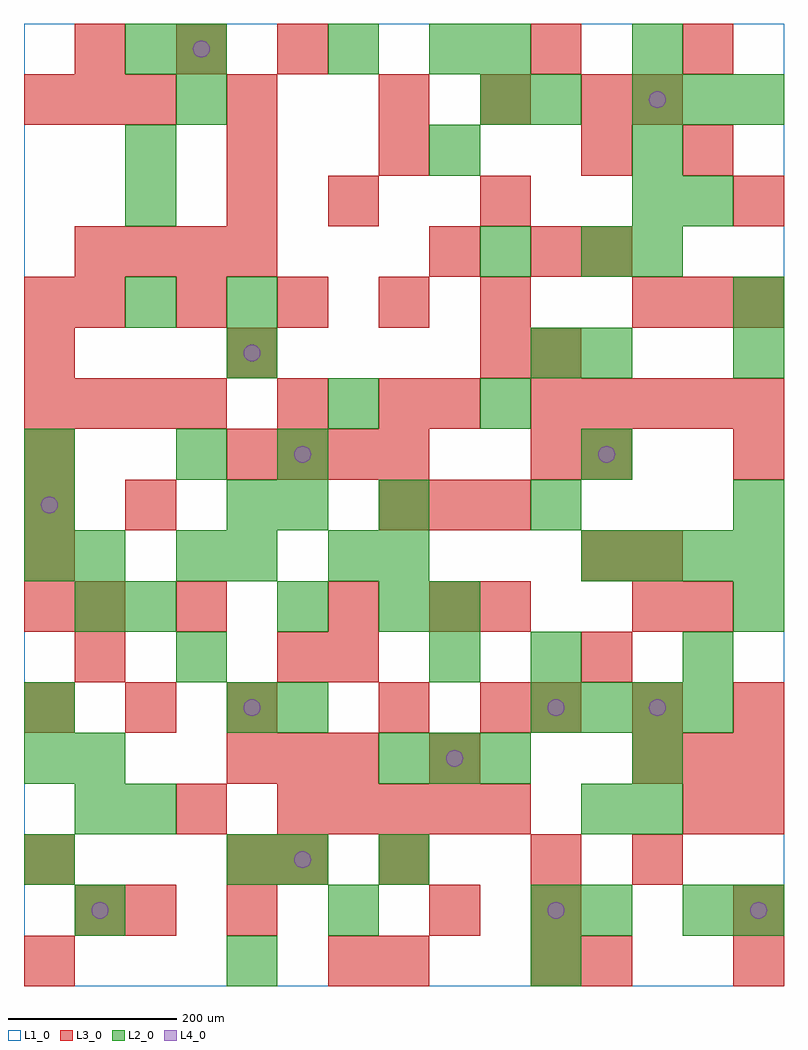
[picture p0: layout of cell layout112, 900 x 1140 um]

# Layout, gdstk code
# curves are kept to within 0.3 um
import gdstk
lib = gdstk.Library(unit=1e-6, precision=1e-09)
def R(c, l, rs):  # rectangles x0, y0, x1, y1
    for r in rs: c.add(gdstk.rectangle(r[:2], r[2:], *l))
def A(c, l, x, y, w, h, nx, ny, dx, dy):  # array of equal rectangles
    R(c, l, [(x+i*dx, y+j*dy, x+i*dx+w, y+j*dy+h) for i in range(nx) for j in range(ny)])
def P(c, l, *ps):  # polygons
    for p in ps: c.add(gdstk.Polygon(p, *l))
L1_0 = (1, 0)
L2_0 = (2, 0)
L3_0 = (3, 0)
L4_0 = (4, 0)

layout112 = lib.new_cell('layout112')
R(layout112, L1_0, [(0,0,900,1140)])
A(layout112, L2_0, 240, 120, 60, 60, 1, 3, 0, 180)
A(layout112, L2_0, 420, 240, 60, 60, 3, 1, 60, 0)
A(layout112, L2_0, 300, 300, 60, 60, 1, 3, 0, 120)
A(layout112, L2_0, 600, 300, 60, 60, 4, 1, 60, 0)
A(layout112, L2_0, 180, 360, 60, 60, 1, 3, 0, 120)
A(layout112, L2_0, 600, 360, 60, 60, 1, 3, 0, 180)
A(layout112, L2_0, 420, 420, 60, 60, 1, 3, 0, 60)
A(layout112, L2_0, 0, 480, 60, 60, 1, 3, 0, 60)
A(layout112, L2_0, 660, 480, 60, 60, 4, 1, 60, 0)
A(layout112, L2_0, 660, 600, 60, 60, 1, 3, 0, 120)
A(layout112, L2_0, 540, 660, 60, 60, 1, 3, 0, 180)
A(layout112, L2_0, 720, 840, 60, 60, 1, 3, 0, 60)
A(layout112, L2_0, 720, 1020, 60, 60, 3, 1, 60, 0)
R(layout112, L2_0, [(240,0,300,60), (600,0,660,60), (60,60,120,120), (360,60,420,120), (600,60,660,120), (660,60,720,120), (780,60,840,120), (840,60,900,120), (0,120,60,180), (300,120,360,180), (420,120,480,180), (60,180,120,240), (120,180,180,240), (660,180,720,240), (720,180,780,240), (0,240,60,300), (60,240,120,300), (720,240,780,300), (0,300,60,360), (480,360,540,420), (780,360,840,420), (60,420,120,480), (120,420,180,480), (480,420,540,480), (840,420,900,480), (60,480,120,540), (360,480,420,540), (240,540,300,600), (840,540,900,600), (300,600,360,660), (360,660,420,720), (240,720,300,780), (840,720,900,780), (120,780,180,840), (240,780,300,840), (840,780,900,840), (120,900,180,960), (780,900,840,960), (120,960,180,1020), (480,960,540,1020), (180,1020,240,1080), (600,1020,660,1080), (120,1080,180,1140), (180,1080,240,1140), (360,1080,420,1140), (480,1080,540,1140), (540,1080,600,1140), (720,1080,780,1140)])
A(layout112, L3_0, 600, 0, 60, 60, 1, 3, 0, 60)
A(layout112, L3_0, 480, 60, 60, 60, 1, 3, 0, 180)
A(layout112, L3_0, 300, 180, 60, 60, 5, 1, 60, 0)
A(layout112, L3_0, 240, 240, 60, 60, 3, 1, 60, 0)
A(layout112, L3_0, 720, 240, 60, 60, 3, 2, 60, 540)
A(layout112, L3_0, 0, 300, 60, 60, 3, 1, 120, 0)
A(layout112, L3_0, 600, 300, 60, 60, 3, 1, 120, 0)
A(layout112, L3_0, 660, 360, 60, 60, 1, 3, 0, 120)
A(layout112, L3_0, 0, 420, 60, 60, 1, 4, 0, 60)
A(layout112, L3_0, 420, 540, 60, 60, 3, 1, 60, 0)
A(layout112, L3_0, 240, 600, 60, 60, 4, 1, 60, 0)
A(layout112, L3_0, 600, 600, 60, 60, 1, 3, 0, 120)
A(layout112, L3_0, 0, 660, 60, 60, 4, 1, 60, 0)
A(layout112, L3_0, 600, 660, 60, 60, 5, 1, 60, 0)
A(layout112, L3_0, 60, 780, 60, 60, 5, 1, 120, 0)
A(layout112, L3_0, 60, 840, 60, 60, 4, 1, 60, 0)
A(layout112, L3_0, 240, 900, 60, 60, 1, 3, 0, 60)
A(layout112, L3_0, 0, 1020, 60, 60, 3, 1, 60, 0)
A(layout112, L3_0, 420, 1020, 60, 60, 3, 1, 120, 0)
A(layout112, L3_0, 60, 1080, 60, 60, 3, 1, 120, 0)
R(layout112, L3_0, [(0,0,60,60), (360,0,420,60), (420,0,480,60), (660,0,720,60), (840,0,900,60), (60,60,120,120), (120,60,180,120), (240,60,300,120), (840,60,900,120), (0,120,60,180), (240,120,300,180), (300,120,360,180), (420,120,480,180), (720,120,780,180), (180,180,240,240), (780,180,840,240), (840,180,900,240), (420,300,480,360), (540,300,600,360), (60,360,120,420), (300,360,360,420), (360,360,420,420), (60,420,120,480), (180,420,240,480), (360,420,420,480), (540,420,600,480), (720,420,780,480), (780,420,840,480), (720,480,780,540), (120,540,180,600), (840,600,900,660), (300,660,360,720), (420,660,480,720), (480,660,540,720), (0,720,60,780), (240,720,300,780), (540,720,600,780), (0,780,60,840), (480,840,540,900), (660,840,720,900), (360,900,420,960), (540,900,600,960), (840,900,900,960), (420,960,480,1020), (660,960,720,1020), (780,960,840,1020), (720,1020,780,1080), (600,1080,660,1140), (780,1080,840,1140)])
P(layout112, L4_0, [(40,570),(39.239,573.827),(37.071,577.071),(33.827,579.239),(30,580),(26.173,579.239),(22.929,577.071),(20.761,573.827),(20,570),(20.761,566.173),(22.929,562.929),(26.173,560.761),(30,560),(33.827,560.761),(37.071,562.929),(39.239,566.173)],
  [(100,90),(99.239,93.827),(97.071,97.071),(93.827,99.239),(90,100),(86.173,99.239),(82.929,97.071),(80.761,93.827),(80,90),(80.761,86.173),(82.929,82.929),(86.173,80.761),(90,80),(93.827,80.761),(97.071,82.929),(99.239,86.173)],
  [(220,1110),(219.239,1113.827),(217.071,1117.071),(213.827,1119.239),(210,1120),(206.173,1119.239),(202.929,1117.071),(200.761,1113.827),(200,1110),(200.761,1106.173),(202.929,1102.929),(206.173,1100.761),(210,1100),(213.827,1100.761),(217.071,1102.929),(219.239,1106.173)],
  [(280,330),(279.239,333.827),(277.071,337.071),(273.827,339.239),(270,340),(266.173,339.239),(262.929,337.071),(260.761,333.827),(260,330),(260.761,326.173),(262.929,322.929),(266.173,320.761),(270,320),(273.827,320.761),(277.071,322.929),(279.239,326.173)],
  [(280,750),(279.239,753.827),(277.071,757.071),(273.827,759.239),(270,760),(266.173,759.239),(262.929,757.071),(260.761,753.827),(260,750),(260.761,746.173),(262.929,742.929),(266.173,740.761),(270,740),(273.827,740.761),(277.071,742.929),(279.239,746.173)],
  [(340,150),(339.239,153.827),(337.071,157.071),(333.827,159.239),(330,160),(326.173,159.239),(322.929,157.071),(320.761,153.827),(320,150),(320.761,146.173),(322.929,142.929),(326.173,140.761),(330,140),(333.827,140.761),(337.071,142.929),(339.239,146.173)],
  [(340,630),(339.239,633.827),(337.071,637.071),(333.827,639.239),(330,640),(326.173,639.239),(322.929,637.071),(320.761,633.827),(320,630),(320.761,626.173),(322.929,622.929),(326.173,620.761),(330,620),(333.827,620.761),(337.071,622.929),(339.239,626.173)],
  [(520,270),(519.239,273.827),(517.071,277.071),(513.827,279.239),(510,280),(506.173,279.239),(502.929,277.071),(500.761,273.827),(500,270),(500.761,266.173),(502.929,262.929),(506.173,260.761),(510,260),(513.827,260.761),(517.071,262.929),(519.239,266.173)],
  [(640,90),(639.239,93.827),(637.071,97.071),(633.827,99.239),(630,100),(626.173,99.239),(622.929,97.071),(620.761,93.827),(620,90),(620.761,86.173),(622.929,82.929),(626.173,80.761),(630,80),(633.827,80.761),(637.071,82.929),(639.239,86.173)],
  [(640,330),(639.239,333.827),(637.071,337.071),(633.827,339.239),(630,340),(626.173,339.239),(622.929,337.071),(620.761,333.827),(620,330),(620.761,326.173),(622.929,322.929),(626.173,320.761),(630,320),(633.827,320.761),(637.071,322.929),(639.239,326.173)],
  [(700,630),(699.239,633.827),(697.071,637.071),(693.827,639.239),(690,640),(686.173,639.239),(682.929,637.071),(680.761,633.827),(680,630),(680.761,626.173),(682.929,622.929),(686.173,620.761),(690,620),(693.827,620.761),(697.071,622.929),(699.239,626.173)],
  [(760,330),(759.239,333.827),(757.071,337.071),(753.827,339.239),(750,340),(746.173,339.239),(742.929,337.071),(740.761,333.827),(740,330),(740.761,326.173),(742.929,322.929),(746.173,320.761),(750,320),(753.827,320.761),(757.071,322.929),(759.239,326.173)],
  [(760,1050),(759.239,1053.827),(757.071,1057.071),(753.827,1059.239),(750,1060),(746.173,1059.239),(742.929,1057.071),(740.761,1053.827),(740,1050),(740.761,1046.173),(742.929,1042.929),(746.173,1040.761),(750,1040),(753.827,1040.761),(757.071,1042.929),(759.239,1046.173)],
  [(880,90),(879.239,93.827),(877.071,97.071),(873.827,99.239),(870,100),(866.173,99.239),(862.929,97.071),(860.761,93.827),(860,90),(860.761,86.173),(862.929,82.929),(866.173,80.761),(870,80),(873.827,80.761),(877.071,82.929),(879.239,86.173)])

lib.write_gds('layout112.gds')
